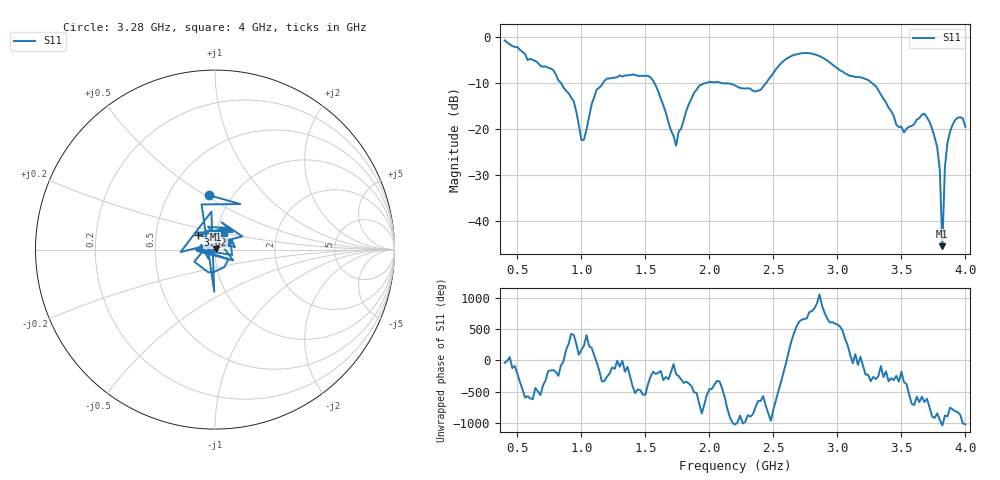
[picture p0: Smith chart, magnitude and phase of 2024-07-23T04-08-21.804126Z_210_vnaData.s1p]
!Created with skrf (http://scikit-rf.org).
# Hz S RI R 50.0
!freq ReS11 ImS11
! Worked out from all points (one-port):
!   181 points, 400 MHz to 4 GHz, reference 50 ohm
!   lowest |S11| = -45.6 dB at 3.82 GHz (marker M1), VSWR 1.01, Z = 50.4 + j0.347 ohm
!   |S11| at or under -10 dB: 1.569 GHz to 1.981 GHz (411.6 MHz wide, 23.2 % of centre); 2.09 GHz to 2.444 GHz (353.8 MHz wide, 15.6 % of centre); 3.267 GHz to end of sweep (the widest 3 of 4)
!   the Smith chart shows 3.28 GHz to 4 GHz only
!   S11 on the Smith chart (normalised r, x): 3.28 GHz: 0.78, +0.52; 3.62 GHz: 0.82, +0.14; 4 GHz: 1.09, +0.20
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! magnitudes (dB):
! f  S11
! 400 MHz  -0.8
! 780 MHz  -7.2
! 860 MHz  -11.0
! 940 MHz  -14.0
! 1 GHz  -22.5
! 1.12 GHz  -11.4
! 1.3 GHz  -8.4
! 1.54 GHz  -8.8
! 1.74 GHz  -23.7
! 1.76 GHz  -20.6
! 1.92 GHz  -10.6
! 2.2 GHz  -10.6
! 2.4 GHz  -11.5
! 2.66 GHz  -3.9
! 2.86 GHz  -4.2
! 3.1 GHz  -8.5
! 3.28 GHz  -10.3
! 3.46 GHz  -19.1
! 3.56 GHz  -19.6
! 3.62 GHz  -18.0
! 3.68 GHz  -16.7
! 3.78 GHz  -24.1
! 3.8 GHz  -28.9
! 3.82 GHz  -45.6
! 3.84 GHz  -28.4
! 3.86 GHz  -23.1
! 3.94 GHz  -17.6
! 4 GHz  -19.6
